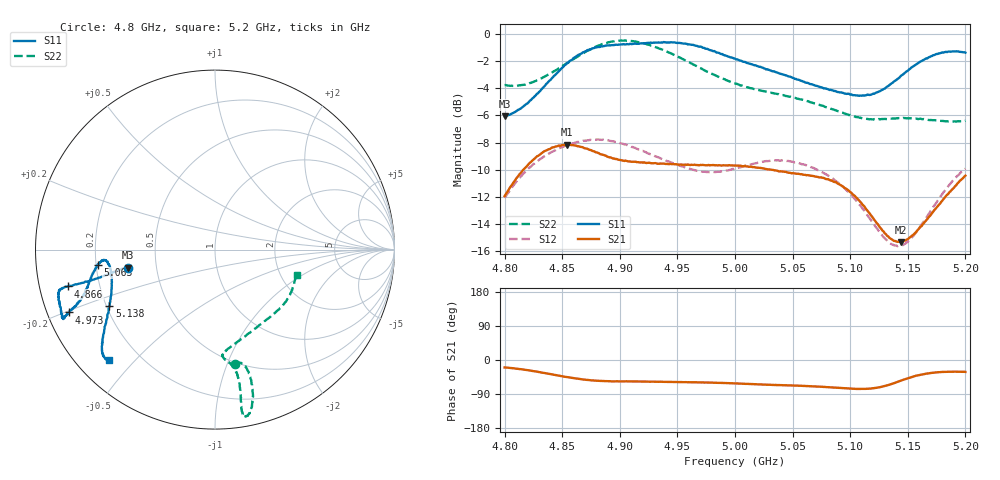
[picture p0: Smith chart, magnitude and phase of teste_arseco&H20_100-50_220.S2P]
! Network Analyzer HP8722D
! Hewlett-Packard
! Data name: Linha & Wilkinson
! Saver's name: Rodrigo Anjos
! Comments: Teste da utilização de aquisição
! continua pelo VNA HP8722D
! Time and date: 6/5/2025 14:24
!  Frequency  S11  S21  S12  S22
# HZ  S  MA R 50
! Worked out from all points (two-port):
!   401 points, 4.8 GHz to 5.2 GHz, reference 50 ohm
!   highest |S21| = -8.17 dB at 4.854 GHz (marker M1); lowest = -15.3 dB at 5.144 GHz (marker M2)
!   |S21| within 3 dB of the highest: 4.806 GHz to 5.092 GHz (286.4 MHz wide, 5.79 % of centre); 5.19175 GHz to end of sweep
!   lowest |S11| = -6.1 dB at 4.8 GHz (marker M3), VSWR 2.97, Z = 17 - j4.56 ohm
!   |S11| at or under -10 dB: nowhere
!   |S22| runs from -6.5 to -0.5 dB; largest |S21 - S12| = 0.62
!   S11 on the Smith chart (normalised r, x): 4.8 GHz: 0.34, -0.09; 4.866 GHz: 0.09, -0.12; 4.973 GHz: 0.06, -0.20; 5.063 GHz: 0.21, -0.06; 5.138 GHz: 0.21, -0.24; 5.2 GHz: 0.09, -0.42
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4.8e9  0.4967 -168.2  0.2529 -19.8  0.2493 -141.0  0.6475 -80.3
4.827e9  0.5936 -167.2  0.3507 -30.1  0.3365 -144.7  0.6704 -75.4
4.854e9  0.7769 -165.9  0.3906 -45.1  0.3891 -149.9  0.7805 -74.7
4.866e9  0.8431 -165.9  0.3836 -50.4  0.4019 -152.0  0.8375 -75.4
4.867e9  0.8475 -165.9  0.3833 -51.0  0.4025 -152.1  0.8427 -75.5
4.879e9  0.8908 -165.7  0.3664 -54.3  0.4074 -154.2  0.8952 -76.7
4.899e9  0.9122 -163.0  0.3439 -56.6  0.3981 -156.7  0.9432 -79.1
4.934e9  0.9288 -156.5  0.3325 -57.6  0.3508 -155.8  0.8828 -80.5
4.949e9  0.926 -155.5  0.3313 -57.9  0.3312 -153.0  0.8296 -80.1
4.973e9  0.8878 -156.8  0.3288 -59.5  0.3109 -145.9  0.7355 -79.8
5e9  0.8098 -159.1  0.3277 -61.8  0.3198 -137.3  0.6569 -81.4
5.036e9  0.7215 -165.6  0.3139 -66.1  0.3419 -134.5  0.6014 -85.7
5.063e9  0.6601 -172.6  0.3021 -68.7  0.3262 -136.5  0.5649 -83.8
5.067e9  0.6514 -173.0  0.3003 -69.2  0.3226 -136.8  0.5577 -82.6
5.086e9  0.6159 -174.5  0.2851 -73.0  0.2908 -138.5  0.5256 -75.3
5.103e9  0.5944 -171.5  0.2552 -76.2  0.2496 -138.7  0.4979 -65.2
5.116e9  0.5962 -165.5  0.2208 -75.9  0.2119 -135.6  0.4858 -55.7
5.134e9  0.6473 -154.4  0.1777 -65.2  0.1704 -120.6  0.4872 -43.3
5.138e9  0.6677 -151.8  0.1731 -61.2  0.1667 -115.4  0.4875 -40.8
5.144e9  0.7006 -148.9  0.1716 -54.5  0.1659 -107.4  0.4889 -37.6
5.174e9  0.8394 -138.6  0.2269 -33.0  0.2368 -80.3  0.4805 -23.9
5.2e9  0.8522 -133.8  0.3008 -31.4  0.3192 -77.0  0.4785 -17.5
